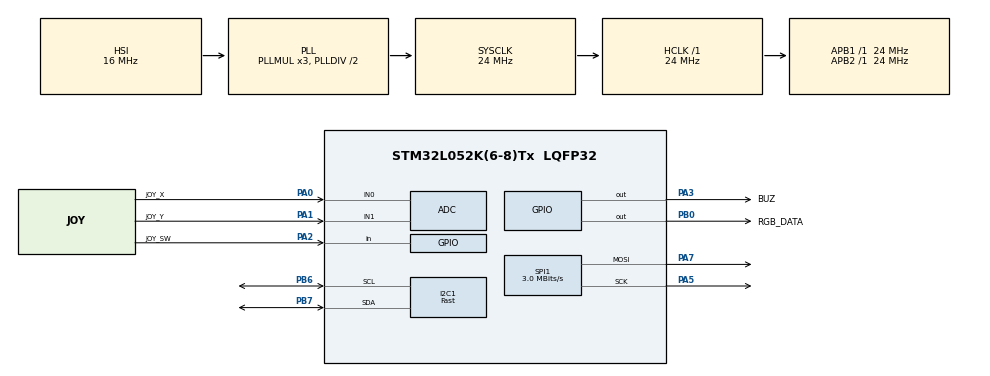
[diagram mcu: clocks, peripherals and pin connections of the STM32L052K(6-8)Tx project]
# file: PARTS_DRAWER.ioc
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ADC.ClockPrescaler=ADC_CLOCK_ASYNC_DIV1
ADC.ContinuousConvMode=DISABLE
ADC.DMAContinuousRequests=DISABLE
ADC.SamplingTime=ADC_SAMPLETIME_79CYCLES_5
Dma.Request0=SPI1_TX
Dma.SPI1_TX.0.Direction=DMA_MEMORY_TO_PERIPH
Dma.SPI1_TX.0.Instance=DMA1_Channel3
Dma.SPI1_TX.0.MemDataAlignment=DMA_MDATAALIGN_BYTE
Dma.SPI1_TX.0.MemInc=DMA_MINC_ENABLE
Dma.SPI1_TX.0.Mode=DMA_NORMAL
Dma.SPI1_TX.0.PeriphDataAlignment=DMA_PDATAALIGN_BYTE
Dma.SPI1_TX.0.PeriphInc=DMA_PINC_DISABLE
Dma.SPI1_TX.0.Priority=DMA_PRIORITY_LOW
I2C1.I2C_Speed_Mode=I2C_Fast
I2C1.Timing=0x00200C28
Mcu.Family=STM32L0
Mcu.Name=STM32L052K(6-8)Tx
Mcu.Package=LQFP32
NVIC.DMA1_Channel2_3_IRQn=true\:0\:0\:false\:false\:true\:false\:true\:true
NVIC.TIM2_IRQn=true\:0\:0\:false\:true\:true\:1\:true\:true\:true
PA0.GPIO_Label=JOY_X
PA0.Mode=IN0
PA0.Signal=ADC_IN0
PA1.GPIO_Label=JOY_Y
PA1.Mode=IN1
PA1.Signal=ADC_IN1
PA2.GPIO_Label=JOY_SW
PA2.GPIO_PuPd=GPIO_PULLUP
PA2.Signal=GPIO_Input
PA3.GPIO_Label=BUZ
PA3.Signal=GPIO_Output
PA5.Mode=TX_Only_Simplex_Unidirect_Master
PA5.Signal=SPI1_SCK
PA7.Mode=TX_Only_Simplex_Unidirect_Master
PA7.Signal=SPI1_MOSI
PB0.GPIO_Label=RGB_DATA
PB0.GPIO_ModeDefaultOutputPP=GPIO_MODE_OUTPUT_PP
PB0.GPIO_PuPd=GPIO_NOPULL
PB0.GPIO_Speed=GPIO_SPEED_FREQ_LOW
PB0.Signal=GPIO_Output
PB6.Mode=I2C
PB6.Signal=I2C1_SCL
PB7.Mode=I2C
PB7.Signal=I2C1_SDA
ProjectManager.HeapSize=0x200
ProjectManager.StackSize=0x400
ProjectManager.TargetToolchain=STM32CubeIDE
RCC.AHBFreq_Value=24000000
RCC.APB1Freq_Value=24000000
RCC.APB1TimFreq_Value=24000000
RCC.APB2Freq_Value=24000000
RCC.APB2TimFreq_Value=24000000
RCC.HCLKFreq_Value=24000000
RCC.HSI16_VALUE=16000000
RCC.HSI48_VALUE=48000000
RCC.HSI_VALUE=16000000
RCC.LSE_VALUE=32768
RCC.MSI_VALUE=2097000
RCC.SYSCLKFreq_VALUE=24000000
RCC.SYSCLKSource=RCC_SYSCLKSOURCE_PLLCLK
RCC.VCOOutputFreq_Value=48000000
SPI1.BaudRatePrescaler=SPI_BAUDRATEPRESCALER_8
SPI1.CalculateBaudRate=3.0 MBits/s
SPI1.Direction=SPI_DIRECTION_2LINES
SPI1.Mode=SPI_MODE_MASTER
SPI1.VirtualType=VM_MASTER
TIM2.Period=1000-1
TIM2.Prescaler=32-1
VP_TIM2_VS_ClockSourceINT.Mode=Internal
board=custom

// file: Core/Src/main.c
/* USER CODE BEGIN Header */
/**
 ******************************************************************************
 * @file           : main.c
 * @brief          : Main program body
 ******************************************************************************
 * @attention
 *
 * Copyright (c) 2022 STMicroelectronics.
 * All rights reserved.
 *
 * This software is licensed under terms that can be found in the LICENSE file
 * in the root directory of this software component.
 * If no LICENSE file comes with this software, it is provided AS-IS.
 *
 ******************************************************************************
 */
/* USER CODE END Header */
#include "main.h"

/* USER CODE BEGIN Includes */
#include <stdio.h>
#include "DS3231.h"
#include "SK6812.h"
#include "ssd1306.h"
#include "stm32l0xx_EEPROM.h"
/* USER CODE END Includes */

/* USER CODE BEGIN PTD */
enum bool{false, true};
typedef uint8_t boolean;
typedef char *String;
typedef uint8_t MODE;
typedef enum __MODE__{
	MAIN, PSAVE, PUSE, USE, REFILL, PFIND, FINDR, PARTITION, PLOG, LOGD
}__MODE__;

typedef struct TIME {
	uint8_t hour;
	uint8_t min;
	uint8_t sec;
} TIME;

typedef struct DATE {
	uint8_t day;
	uint8_t month;
	uint16_t year;
} DATE;

typedef struct PART{
	volatile String name;
	uint8_t cate;
	uint8_t partF;
	uint8_t pos;

	uint8_t ptionID;
	uint8_t ptionC;

	uint16_t store;
	uint16_t max;
}PART;

typedef struct PLOG{
	uint8_t workCate;
	char content[2][22];
	TIME time;
	DATE date;
}PTLOG;
/* USER CODE END PTD */

/* USER CODE BEGIN PD */
#define BUZ(x) (HAL_GPIO_WritePin(BUZ_GPIO_Port, BUZ_Pin, x))
#define ADC_JOY_X (adc[0])
#define ADC_JOY_Y (adc[1])
#define JOY_R (ADC_JOY_X > 4000)
#define JOY_L (ADC_JOY_X < 300)
#define JOY_U (ADC_JOY_Y > 4000)
#define JOY_D (ADC_JOY_Y < 300)
#define JOY_P (!HAL_GPIO_ReadPin(JOY_SW_GPIO_Port, JOY_SW_Pin))
#define RE1 (reC>=100)

#define UPDATE SSD1306_UpdateScreen(); led_update()
#define PTR pt[i].cate == 1 ? 1 : pt[i].cate == 2 ? 4 : pt[i].cate == 3 ? 0 : 4
#define PTG pt[i].cate == 1 ? 0 : pt[i].cate == 2 ? 4 : pt[i].cate == 3 ? 4 : 1
#define PTB pt[i].cate == 1 ? 4 : pt[i].cate == 2 ? 0 : pt[i].cate == 3 ? 4 : 0
#define PTMAX pt[ptC].cate == 0 ? 200 : pt[ptC].cate == 1 ? 100 : pt[ptC].cate == 2 ? 50 : 10
#define PTRF pt[findArr[sel]].cate == 1 ? 1 : pt[findArr[sel]].cate == 2 ? 4 : pt[findArr[sel]].cate == 3 ? 0 : 4
#define PTGF pt[findArr[sel]].cate == 1 ? 0 : pt[findArr[sel]].cate == 2 ? 4 : pt[findArr[sel]].cate == 3 ? 4 : 1
#define PTBF pt[findArr[sel]].cate == 1 ? 4 : pt[findArr[sel]].cate == 2 ? 0 : pt[findArr[sel]].cate == 3 ? 4 : 0
/* USER CODE END PD */

ADC_HandleTypeDef hadc;

I2C_HandleTypeDef hi2c1;

SPI_HandleTypeDef hspi1;
DMA_HandleTypeDef hdma_spi1_tx;

TIM_HandleTypeDef htim2;

/* USER CODE BEGIN PV */
DATE date;
TIME time;
PART pt[36];
PTLOG pLog[6];
MODE modeFlag = MAIN;

uint8_t reC = 0;
uint8_t lastDay[12] = {31, 28, 31, 30, 31, 30, 31, 31, 30, 31, 30, 31};
uint8_t sel;
uint8_t buzFlag = 0;
uint8_t ptC = 0;
uint8_t tempX = 0, tempY = 0;
uint8_t ledPos = 0;
uint8_t ptSetPosF = 0;
uint8_t ptInNum;
uint8_t logC=0;
uint8_t usePos = 255;
uint8_t findArr[36];
uint8_t findC = 0;
uint8_t selLog = 0;
uint16_t adc[2];
uint16_t ledC = 0;
boolean oldsw = true;
boolean udf = true, firstF = true;
volatile String ptFindName;
const String ptCate[4] = {"Res", "Cap", "IC", "Etc"};
const String ptWorkCate[4] = {"SAVE", "USE", "FIND", "MKPT"};
const String keyboard[4] = {
		"1234567890",
		"QWERTYUIOP",
		"ASDFGHJKL;",
		"ZXCVBNM,. "
};

/* USER CODE END PV */

void SystemClock_Config(void);
static void MX_GPIO_Init(void);
static void MX_DMA_Init(void);
static void MX_ADC_Init(void);
static void MX_I2C1_Init(void);
static void MX_SPI1_Init(void);
static void MX_TIM2_Init(void);
static void MX_NVIC_Init(void);

/* USER CODE BEGIN 0 */
void SSD1306_PutsXY(uint8_t x, uint8_t y, String str, uint8_t color) {
	SSD1306_GotoXY(x * 6, y * 8);
	SSD1306_Puts(str, &Font_6x8, color);
}

void basicScreen(){
	SSD1306_Fill(0);
	SSD1306_DrawFilledRectangle(0, 0, 127, 7, 1);
}

void swS(){
	oldsw = JOY_P ? true : false;
}

void HAL_TIM_PeriodElapsedCallback(TIM_HandleTypeDef *htim) {
	static uint16_t buzC;
	if (htim->Instance == TIM2) {
		reC++;
		if(modeFlag == FINDR || modeFlag == PARTITION) ledC++;
		else ledC = 0;
		HAL_ADC_Start(&hadc);
		HAL_ADC_PollForConversion(&hadc, 10);
		adc[0] = HAL_ADC_GetValue(&hadc);
		HAL_ADC_PollForConversion(&hadc, 10);
		adc[1] = HAL_ADC_GetValue(&hadc);
		swS();
		if(buzFlag)buzC++;
		else {
			buzC = 0;
			BUZ(0);
		}
		if(buzFlag==1){
			if(buzC >= 500) buzFlag = 0;
			BUZ(1);
		}
		if(buzFlag == 2){
			if(buzC >= 100) buzFlag = 0;
			if(buzC % 50 > 25) BUZ(1);
			else BUZ(0);
		}
	}
}

void logShift(){
	logC++;
	for(uint8_t i = 0; i < 5; i++)
		pLog[5 - i] = pLog[4 - i];
}

void textIn(boolean n, volatile String resultArr ,uint8_t lim){
	String bf = (String)calloc(0, sizeof(char) * 11);
	uint8_t keyX = 0, keyY = 0, limX = 0, tempColor;
	uint8_t cur = 0;
	udf = true;
	memset(resultArr, 0, (size_t)lim + 1);

	SSD1306_Fill(0);

	while(1){
		if(RE1){
			reC = 0;
			if(JOY_R)
				if(keyX < limX) keyX++;
				else keyX = 0;
			if(JOY_L)
				if(keyX) keyX--;
				else keyX = limX;
			if(JOY_U)
				if(keyY) keyY--;
				else keyY = 3;
			if(JOY_D)
				if(keyY < 3) keyY++;
				else keyY = 0;
			if(JOY_R || JOY_L || JOY_U || JOY_D) udf = true;
		}
		if(JOY_P){
			if(!oldsw){
				swS();
				udf = true;
				if(keyX < 10) resultArr[cur++] = keyboard[keyY][keyX];
				else {
					if(keyY == 0) cur--;
					else if(keyY == 2){
						udf = true;
						resultArr[cur] = '\0';
						SSD1306_Fill(1);
						free(bf);
						return;
					}
				}
			}
		}
		if(lim - 1 == cur){
			firstF = true;
			udf = true;

			resultArr[cur]='\0';
			SSD1306_Fill(1);

			free(bf);
			return;
		}
		if(keyY == 0 || keyY == 2) limX = 10;
		else limX = 9;
		if(keyX > limX) keyX = limX;
		if(udf){
			udf = false;

			basicScreen();
			if(!n) SSD1306_PutsXY(0, 0, "#input Name", 0);
			else  SSD1306_PutsXY(0, 0, "#input part name", 0);

			for(uint8_t i = 0; i < 10; i++){
				for(uint8_t j = 0; j < 4; j++){
					tempColor = !(keyX == i && keyY == j);
					SSD1306_GotoXY(14 + (i * 10), 31 + (j * 8));
					SSD1306_Putc(keyboard[j][i], &Font_6x8, tempColor);
				}
			}
			SSD1306_GotoXY(115, 31);
			SSD1306_Puts("&", &Font_6x8, !(keyX == 10 && keyY == 0));
			SSD1306_GotoXY(115, 49);
			SSD1306_Puts("*", &Font_6x8, !(keyX == 10 && keyY == 2));
			SSD1306_PutsXY(cur, 2, " ^ ", 1);
			SSD1306_PutsXY(0, 1, " > ", 1);
			for(uint8_t i = 0; i < cur; i++){
				sprintf(bf, "%c ", resultArr[i]);
				SSD1306_PutsXY(1 + i, 1, bf, 1);
			}

			SSD1306_UpdateScreen();
		}
	}
}

void timeSet(boolean firstOn){
	DATE setDate = {.year = 2022, .month = 3, .day = 18};
	TIME setTime = {.hour = 0, .min = 0, .sec = 1};

	basicScreen();
	while(!firstOn){
		if(RE1){
			reC = 0;
			if(JOY_R && sel < 5) sel++;
			if(JOY_L && sel) sel--;
			if(JOY_U){
				switch(sel){
				case 0: if(setDate.year < 2099) setDate.year++;
				case 1: if(setDate.month < 12) setDate.month++;
				case 2: if(setDate.day < lastDay[setDate.month - 1]) setDate.day++;
				case 3: if(setTime.hour < 23) setTime.hour++;
				case 4: if(setTime.min < 59) setTime.min++;
				case 5: if(setTime.sec < 59) setTime.sec++;
				}
				if(setDate.day > lastDay[setDate.month - 1]) setDate.day = lastDay[setDate.month - 1];
			}
			if(JOY_D){
				switch(sel){
				case 0: if(setDate.year > 2000) setDate.year--;
				case 1: if(setDate.month > 1) setDate.month--;
				case 2: if(setDate.day > 1) setDate.day--;
				case 3: if(setTime.hour) setTime.hour--;
				case 4: if(setTime.min) setTime.min--;
				case 5: if(setTime.sec) setTime.sec--;
				}
			}
			if(JOY_R || JOY_L || JOY_U || JOY_D) udf = true;
		}
		if(JOY_P){
			if(!oldsw){
				swS();
				DS3231_set_date(setDate.day, setDate.month, setDate.year);
				DS3231_set_time(setTime.sec, setTime.min, setTime.hour);
				udf = true;
				eepWriteData(0, true);
				SSD1306_Clear();
				return;
			}
		}
		if(udf){
			String bf = (String)calloc(0, sizeof(char) * 12);
			udf = false;
			basicScreen();
			SSD1306_PutsXY(0, 0, "#Time Set", 0);
			SSD1306_PutsXY(0, 2, "RTC Time setting.", 1);
			switch(sel){
			case 0: sprintf(bf, "Year=%04ld", setDate.year); break;
			case 1: sprintf(bf, "Month=%02ld", setDate.month); break;
			case 2: sprintf(bf, "Day=%02ld", setDate.day); break;
			case 3: sprintf(bf, "Hour=%02ld", setTime.hour); break;
			case 4: sprintf(bf, "Min=%02ld", setTime.min); break;
			case 5: sprintf(bf, "Sec=%02ld", setTime.sec); break;
			}
			SSD1306_PutsXY(0, 4, bf, 1);
			SSD1306_UpdateScreen();
			free(bf);
		}
	}
}

MODE mainM(){
	if(firstF){
		firstF = false;
		basicScreen();
		for(uint8_t i = 0; i < 36; i++)
			if(pt[i].store) led_color(pt[i].pos, PTR, PTG, PTB);
		led_update();
		sel = 0;
	}
	if(RE1){
		if(JOY_U && sel)sel--;
		if(JOY_D && sel < 4) sel++;
		if(JOY_U || JOY_D || JOY_R || JOY_L) udf = true;

		DS3231_get_date(&date.day, &date.month, (uint8_t *)&date.year);
		DS3231_get_time(&time.sec, &time.min, &time.hour);

		String bf = (String)calloc(0, sizeof(char) * 16);
		sprintf(bf, "%04d.%02d.%02d", date.year + 1992, date.month, date.day);
		SSD1306_PutsXY(11, 3, bf, 1);
		sprintf(bf, "%02d:%02d:%02d", time.hour, time.min, time.sec);
		SSD1306_PutsXY(13, 4, bf, 1);
		SSD1306_UpdateScreen();
		free(bf);
	}
	if(JOY_P){
		if(!oldsw){
			swS();
			if(ptC || !sel){
				udf = true;
				firstF = true;
				return sel == 0 ? PSAVE : sel == 1 ? PUSE : sel == 2 ? PFIND : sel == 3 ? PARTITION : PLOG;
			}else buzFlag = 1;
		}
	}
	if(udf){
		udf = false;
		basicScreen();
		SSD1306_PutsXY(0, 0, "#Menu", 0);
		SSD1306_PutsXY(1, 2, "Part save", 1);
		SSD1306_PutsXY(1, 3, "Part use", 1);
		SSD1306_PutsXY(1, 4, "Part find", 1);
		SSD1306_PutsXY(1, 5, "Partition", 1);
		SSD1306_PutsXY(1, 6, "Part log", 1);

		SSD1306_PutsXY(0, sel + 2, ">", 1);
	}
	return MAIN;
}

MODE partS(){
	if(firstF){
		firstF = false;

		sel = 0;
		tempX = 1;
		tempY = 1;
		ledPos = 30;

		ptInNum = 1;
		pt[ptC].cate = 0;
		pt[ptC].max = 200;

		led_clear();
		led_update();
	}
	if(RE1){
		uint8_t i;
		reC = 0;
		if(ptSetPosF){
			if(JOY_R)
				if(tempX < 6)
					for(i = 1; i <= (6 - tempX); i++)
						if(led_cmp((ledPos + i), 0, 4, 0) == 3){
							tempX += i;
							break;
						}
			if(JOY_L)
				if(tempX > 1)
					for(i = 1; i < tempX; i++)
						if(led_cmp((ledPos - i), 0, 4, 0) == 3){
							tempX -= i;
							break;
						}
			if(JOY_U)
				if(tempY < 6)
					for(i = 1; i <= (6 - tempY); i++)
						if(led_cmp(ledPos - (6 * i), 0, 4, 0) == 3){
							tempY += i;
							break;
						}

			if(JOY_D)
				if(tempY > 1)
					for(i = 1; i <=  tempY; i++)
						if(led_cmp(ledPos +(6 * i), 0, 4, 0) == 3){
							tempY -= i;
							break;
						}
		}else{
			if(JOY_R){
				if(sel == 0){
					if(pt[ptC].cate < 3) pt[ptC].cate++;
					pt[ptC].max = PTMAX;
					if(ptInNum > pt[ptC].max) ptInNum = pt[ptC].max;
				}
				if(sel == 2 && ptInNum < pt[ptC].max - pt[ptC].store) ptInNum++;
				if(sel == 3 && pt[ptC].pos < 35) pt[ptC].pos++;
			}
			if(JOY_L){
				if(sel == 0){
					if(pt[ptC].cate) pt[ptC].cate--;
					pt[ptC].max = PTMAX;
					if(ptInNum > pt[ptC].max) ptInNum = pt[ptC].max;
				}
				if(sel == 2 && ptInNum > 1) ptInNum--;
				if(sel == 3 && pt[ptC].pos) pt[ptC].pos--;
			}
			if(JOY_U && sel) sel--;
			if(JOY_D && sel < 4) sel++;
		}
		if(JOY_R || JOY_L || JOY_U || JOY_D) udf = true;
	}
	if(JOY_P){
		if(!oldsw){
			swS();
			if(sel == 1){
				udf = true;
				pt[ptC].name = (String)calloc(0, sizeof(char) * 11);
				textIn(false, pt[ptC].name, 10);
			}else if(sel == 3){
				udf = true;
				ptSetPosF ^= 1;
				if(!ptSetPosF) led_clear();
			}else {
				if(!pt[ptC].name) buzFlag = 2;
				else if(sel == 4){
					udf = true;
					firstF = 1;

					pt[ptC].pos = ledPos;
					pt[ptC].store = ptInNum;

					logShift();
					DS3231_get_date(&date.day, &date.month, (uint8_t *)&date.year);
					DS3231_get_time(&time.sec, &time.min, &time.hour);
					pLog[0].workCate = 1;
					pLog[0].date = date;
					pLog[0].time = time;
					sprintf(pLog[0].content[0], "%s/%s", pt[ptC].name, ptCate[pt[ptC].cate]);
					sprintf(pLog[0].content[1], "%dpcs (%d,%d)", pt[ptC].store, tempX, tempY);
					ptC++;

					sel = 0;
					return MAIN;
				}
			}
		}
	}
	if(udf){
		String bf = (String)calloc(0, sizeof(char) * 11);
		udf = false;
		basicScreen();
		SSD1306_PutsXY(0, 0, "#Save", 0);
		SSD1306_PutsXY(0, 1, "Pls input inFormation", 1);

		SSD1306_PutsXY(1, 3, "Cate:", 1);
		SSD1306_Puts(ptCate[pt[ptC].cate], &Font_6x8, 1);

		SSD1306_PutsXY(1, 4, "Name:", 1);
		if(!pt[ptC].name[0])SSD1306_Puts("(NONE)", &Font_6x8, 1);
		else SSD1306_Puts(pt[ptC].name, &Font_6x8, 1);

		if(pt[ptC].ptionC < 1) pt[ptC].ptionC = 1;
		SSD1306_PutsXY(1, 5, "Store:", 1);
		sprintf(bf, "%d/%d", ptInNum, pt[ptC].max * pt[ptC].ptionC);
		SSD1306_Puts(bf, &Font_6x8, 1);

		if(ptSetPosF){
			led_clear();
			for(uint8_t i = 0; i < 36; i++){
				if(pt[i].store) led_color(pt[i].pos, 4, 0, 0);
				if(led_cmp(i, 0, 0, 0) == 3) led_color(i, 0, 4, 0);
			}
			ledPos = (6 - tempY) * 6 + tempX - 1;
			led_color(ledPos, 4, 4, 4);

			led_update();
		}

		SSD1306_PutsXY(1, 6, "Position ", !ptSetPosF);
		sprintf(bf, "(%d, %d)", tempX, tempY);
		SSD1306_Puts(bf, &Font_6x8, !ptSetPosF);

		SSD1306_PutsXY(1, 7, "Enter", 1);

		SSD1306_PutsXY(0, sel + 3, ">", 1);

		free(bf);
		SSD1306_UpdateScreen();
	}
	return PSAVE;
}

MODE pUseM(){
	if(firstF){
		firstF = false;
		tempX = 1;
		tempY = 1;
	}
	if(RE1){
		reC = 0;
		if(JOY_R && tempX < 6) tempX++;
		if(JOY_L && tempX > 1) tempX--;
		if(JOY_U && tempY < 6) tempY++;
		if(JOY_D && tempY > 1) tempY--;
		if(JOY_R || JOY_L || JOY_U || JOY_D) udf = true;
	}
	if(JOY_P){
		if(!oldsw){
			swS();
			if(usePos != 255){
				firstF = true;
				udf = true;
				return USE;
			}else buzFlag = 2;
		}
	}
	if(udf){
		udf = false;
		basicScreen();
		ledPos = (6 - tempY) * 6 + tempX - 1;

		SSD1306_PutsXY(0, 0, "#Use", 0);
		SSD1306_PutsXY(0, 1, "Select part", 1);

		for(uint8_t i = 0; i < 36; i++){
			if(pt[i].pos == ledPos && pt[i].store){
				String bf = (String)calloc(0, sizeof(char) * 4);
				usePos = i;
				SSD1306_PutsXY(1, 3, "Cate:", 1);
				SSD1306_Puts(ptCate[pt[usePos].cate], &Font_6x8, 1);
				SSD1306_PutsXY(1, 4, "Name:", 1);
				SSD1306_Puts(pt[usePos].name, &Font_6x8, 1);
				SSD1306_PutsXY(1, 5, "Store:", 1);
				sprintf(bf, "%d ", pt[usePos].store);
				SSD1306_Puts(bf, &Font_6x8, 1);
				free(bf);
				break;
			}else{
				usePos = 255;
				SSD1306_PutsXY(1, 3, "(Empty)", 1);
			}
		}
		led_clear();
		for(uint8_t i = 0; i < 36; i++){
			if(pt[i].store) led_color(pt[i].pos, PTR, PTG, PTB);
			if(!led_cmp(i, 0, 0, 0)) led_color(i, 0, 4, 0);
		}
		led_color(ledPos, 4, 4, 4);

		led_update();
		SSD1306_UpdateScreen();
	}

	return PUSE;
}

MODE use(){
	if(firstF){
		firstF = false;
		ptInNum = 0;
	}
	if(RE1){
		reC = 0;
		if(JOY_U && ptInNum < pt[usePos].store) ptInNum++;
		if(JOY_D && ptInNum > 1) ptInNum--;
		if(JOY_U || JOY_D) udf = 1;
	}
	if(JOY_P){
		if(!oldsw){
			swS();
			firstF = 1;
			udf = 1;

			logShift();
			DS3231_get_date(&date.day, &date.month, (uint8_t*)&date.year);
			DS3231_get_time(&time.sec, &time.min, &time.hour);
			pLog[0].workCate = 2;
			pLog[0].date = date;
			pLog[0].time = time ;
			sprintf(pLog[0].content[0], "%s/%s", pt[usePos].name, ptCate[pt[usePos].cate]);
			sprintf(pLog[0].content[1], "%dpcs (%d,%d)", ptInNum, tempX, tempY);
			if(ptInNum == pt[usePos].store) return REFILL;
			else {
				pt[usePos].store -= ptInNum;
				return MAIN;
			}
		}
	}
	if(udf){
		String bf = (String)calloc(0, sizeof(char) * 12);
		udf = false;
		basicScreen();
		SSD1306_PutsXY(0, 0, "#Use", 0);
		SSD1306_PutsXY(0, 1, "How Many use?", 1);
		sprintf(bf, "(%d / %d)", ptInNum, pt[usePos].store);
		SSD1306_PutsXY(0, 3, bf, 1);
		SSD1306_UpdateScreen();
		free(bf);
	}
	return USE;
}

MODE refill(){
	if(firstF){
		firstF = false;
		ptInNum = 0;
	}
	if(RE1){
		reC = 0;
		if(JOY_U && ptInNum < pt[usePos].max){
			ptInNum++;
			udf = true;
		}
		if(JOY_D && ptInNum){
			ptInNum--;
			udf = true;
		}
	}
	if(JOY_P){
		if(!oldsw){
			swS();
			firstF = true;
			udf = true;
			if(ptInNum){
				logShift();
				DS3231_get_date(&date.day, &date.month, (uint8_t*)&date.year);
				DS3231_get_time(&time.sec, &time.min, &time.hour);
				pLog[0].workCate = 1;
				pLog[0].date = date;
				pLog[0].time = time;
				sprintf(pLog[0].content[0], "%s/%s", pt[usePos].name, ptCate[pt[usePos].cate]);
				sprintf(pLog[0].content[1], "%dpcs (%d,%d)", ptInNum, tempX, tempY);
			}
			pt[usePos].store = ptInNum;
			for(uint8_t i = 0; i < 36; i++){
				if(pt[usePos].ptionID == pt[i].ptionID && pt[usePos].ptionID) pt[i] = pt[usePos];
			}
			led_clear();

			return MAIN;
		}
	}
	if(udf){
		String bf = (String)calloc(0, sizeof(char) * 11);
		udf = false;
		basicScreen();
		SSD1306_PutsXY(0, 0, "#refill", 0);
		SSD1306_PutsXY(0, 1, "Part has all used.", 1);
		if(pt[usePos].ptionC < 1)pt[usePos].ptionC = 1;
		sprintf(bf, "IN:%u/%u", ptInNum, pt[usePos].max * pt[usePos].ptionC);
		SSD1306_PutsXY(0, 3, bf, 1);
		SSD1306_UpdateScreen();
		free(bf);
	}
	return REFILL;
}

MODE pFind(){
	if(firstF){
		firstF = false;
		findC = 0;
		memset(ptFindName, 0, sizeof(char) * 11);
	}
	if(RE1 && (JOY_R || JOY_L || JOY_U || JOY_D)) udf = true;
	if(JOY_P){
		if(!oldsw){
			swS();
 			if(!ptFindName[0])textIn(true, ptFindName, 10);
			else{
				for(uint8_t i = 0; i < 36; i++)
					if(!strcmp(ptFindName, pt[i].name)){
						findArr[findC] = i;
						findC++;
					}
				firstF = true;
				udf = true;
				return FINDR;
			}
		}
	}
	if(udf){
		udf = false;
		basicScreen();
		SSD1306_PutsXY(0, 0, "#Find", 0);
		SSD1306_DrawFilledRectangle(18, 34, 92, 10, 1);
		SSD1306_GotoXY(19, 36);
		if(!ptFindName[0]) SSD1306_Puts("input find name", &Font_6x8, 1);
		else SSD1306_Puts(ptFindName, &Font_6x8, 1);
		SSD1306_UpdateScreen();
	}
	return PFIND;
}

MODE findR(){
	if(firstF){
		firstF = false;
		sel = 0;
	}
	if(ledC >= 1000) ledC = 0;
	if(ledC < 500)
		for(uint8_t i = 0; i < 36; i++)
			led_color(pt[findArr[i]].pos, PTRF, PTGF, PTBF);
	else led_color(pt[findArr[sel]].pos, 0, 0, 0);
	if(reC >= 250){
		reC = 0;
		led_update();
		if(JOY_U && sel)sel--;
		if(JOY_D && sel < (findC - 1)) sel++;
		if(JOY_U || JOY_D) udf = true;
	}
	if(JOY_P){
		if(!oldsw){
			udf = true;
			swS();
			logShift();
			DS3231_get_date(&date.day, &date.month, (uint8_t *)&date.year);
			DS3231_get_time(&time.sec, &time.min, &time.hour);
			pLog[0].workCate = 3;
			pLog[0].date = date;
			pLog[0].time = time;
			sprintf(pLog[0].content[0], "Sear:%s", ptFindName);
			sprintf(pLog[0].content[0], "Num of Find:%u", findC);
			if(findC){
				usePos = findArr[sel];
				return USE;
			}else {
				udf = true;
				return MAIN;
			}
		}
		findC = 0;
		udf = true;
		firstF = true;
	}
	if(udf){
		udf = false;
		basicScreen();
		SSD1306_PutsXY(0, 0, "#Find result", 0);
		if(findC){
			String bf = (String)calloc(0, sizeof(char) * 31);
			SSD1306_PutsXY(0, sel + 2, ">", 1);
			SSD1306_PutsXY(0, 1, "Find some Parts!", 1);
			for(uint8_t i = 0; i < findC; i++){
				tempX = (pt[findArr[i]].pos) % 6 + 1;
				tempY = 6 - (pt[findArr[i]].pos) / 6;
				sprintf(bf, "%s(%s/%d,%d)", pt[findArr[i]].name, ptCate[pt[findArr[i]].cate], tempX, tempY);
				SSD1306_PutsXY(1, i + 2, bf, 1);
			}
			free(bf);
		}else SSD1306_PutsXY(0, 1, "Not Found..", 1);
		SSD1306_UpdateScreen();
	}
	return FINDR;
}

MODE partition(){
	static uint8_t minX = 0, minY = 0;
	static uint8_t maxX = 0, maxY = 0;
	static uint8_t ptiSX = 1, ptiEX = 1;
	static uint8_t ptiSY = 1, ptiEY = 1;
	static uint8_t selPtpos = 0;
	static uint8_t tempPtiC= 0;
	static uint8_t ptiC = 0;
	if(firstF){
		firstF = false;
		sel = 0;
		ptiSX = 1;
		ptiSY = 1;
		ptiEX = 1;
		ptiEY = 1;
		selPtpos = 0;
		tempPtiC = 0;
		led_clear();
		led_update();
	}
	if(RE1){
		reC = 0;
		led_clear();
		if(JOY_R){
			if(ptiSX < 6 && sel == 0) ptiSX++;
			if(ptiEX < 6 && sel == 1) ptiEX++;
		}
		if(JOY_L){
			if(ptiSX > 1 && sel == 0) ptiSX--;
			if(ptiEX > 1 && sel == 1) ptiEX--;
		}
		if(JOY_U){
			if(ptiSY < 6 && sel == 0) ptiSY++;
			if(ptiEY < 6 && sel == 1) ptiEY++;
		}
		if(JOY_D){
			if(ptiSY > 1 && sel == 0) ptiSY--;
			if(ptiEY > 1 && sel == 1) ptiEY--;
		}
		if(JOY_U || JOY_D || JOY_R || JOY_L) udf = true;
		if(sel == 0) ledPos = (6 - ptiSY) * 6 + ptiSX - 1;
		if(sel == 1) ledPos = (6 - ptiEY) * 6 + ptiEX - 1;
		if(sel <= 1){
			for(uint8_t i = 0; i < 36; i++) if(!pt[i].cate) led_color(pt[i].pos, PTR, PTG, PTB);
			led_color(ledPos, 4, 4, 4);
			led_update();
		}
		if(sel == 2){
			if(ledC >= 1000) ledC = 0;
			if(ledC < 500){
				for(uint8_t i = 0; i < 36; i++){
					tempX = i % 6 + 1;
					tempY = 6 - i / 6;
					if((tempX >= minX && tempX <= maxX) && (tempY >= minY && tempY <= maxY))
						led_color(i, 0, 4, 0);
				}
			}else led_clear();
			led_update();
		}
	}
	if(JOY_P){
		if(!oldsw){
			swS();
			udf = true;
			if(sel < 3) sel++;
			if(sel == 1){
				ptiEX = ptiSX;
				ptiEY = ptiSY;
			}
			if(sel == 2){
				maxX = ptiSX >= ptiEX ? ptiSX : ptiEX;
				maxY = ptiSY >= ptiEY ? ptiSY : ptiEY;
				minX = ptiSX >= ptiEX ? ptiEX : ptiSX;
				minY = ptiSY >= ptiEY ? ptiEY : ptiSY;
				for(uint8_t i = 0; i < 36; i++){
					tempX = i % 6 + 1;
					tempY = 6 - i / 6;
					if(tempX >= minX && tempX <= maxX)
						if(tempY >= minY && tempY <= maxY)
							tempPtiC++;
				}
			}
			if(sel == 3){
				ptiC++;
				pt[selPtpos].ptionID = ptiC;
				pt[selPtpos].ptionC = tempPtiC;
				for(uint8_t i = 0; i < 36; i++){
					tempX = i % 6 + 1;
					tempY = 6 - i / 6;
					if(tempX >= minX && tempX <= maxX){
						if(tempY >= minY && tempY <= maxY){
							if(!pt[ptC].store){
								pt[ptC] = pt[selPtpos];
								pt[ptC++].pos = i;
							}
						}
					}
				}
				logShift();
				DS3231_get_date(&date.day, &date.month, (uint8_t*)&date.year);
				DS3231_get_time(&time.sec, &time.min, &time.hour);
				sprintf(pLog[0].content[0], "S(%d,%d) E(%d,%d)", ptiSX, ptiSY, ptiEX, ptiEY);
				sprintf(pLog[0].content[1], "Size of ption:%d", tempPtiC);
				pLog[0].workCate = 4;
				pLog[0].time = time;
				pLog[0].date = date;
				sel = 0;
				firstF = true;
				udf = true;
				return MAIN;
			}
		}
	}
	if(udf){
		String bf = (String)calloc(0, sizeof(char) * 30);
		udf = false;
		led_update();
		basicScreen();
		SSD1306_PutsXY(0, 0, "#Partition", 0);
		sprintf(bf, "Start (%d,%d)", ptiSX, ptiSY);
		SSD1306_PutsXY(0, 3, bf, 1);
		for(uint8_t i = 0; i < 36; i++){
			if(pt[i].store && pt[i].pos == ledPos){
				if(pt[i].ptionC < 1) pt[i].ptionC = 1;
				sprintf(bf, "%s(%s/%d/%d)", pt[i].name, ptCate[pt[i].cate], pt[i].store, pt[i].max * pt[i].ptionC);
				SSD1306_PutsXY(0, 4, bf, 1);
			}else {
				SSD1306_PutsXY(0, 4, "(NONE)", 1);
			}
		}
		if(sel == 1){
			SSD1306_PutsXY(0, 1, "Select end point", 1);
			sprintf(bf, "End (%d,%d)", ptiEX, ptiEY);
			SSD1306_PutsXY(0, 3, bf, 1);
			for(uint8_t i = 0; i < 36; i++){
				if(pt[i].store && pt[i].pos == ledPos){
					sprintf(bf, "%s(%s/%d/%d)", pt[i].name, ptCate[pt[i].cate], ptiEX, ptiEY);
					SSD1306_PutsXY(0, 4, bf, 1);
				}else {
					SSD1306_PutsXY(0, 4, "(NONE)", 1);
				}
			}
		}
		if(sel == 2){
			sprintf(bf, "Total number:%d", tempPtiC);
			SSD1306_PutsXY(0, 3, bf, 1);
		}
		SSD1306_UpdateScreen();
		free(bf);
	}
	return PARTITION;
}

MODE logM(){
	if(firstF){
		firstF = false;
		sel = 0;
	}
	if(RE1){
		reC = 0;
		if(JOY_L){
			firstF = true;
			udf = true;
			return MAIN;
		}
		if(JOY_U && sel) sel--;
		if(JOY_D && (sel < ((logC > 6) ? 5 : logC - 1))) sel++;
		if(JOY_U || JOY_D) udf = true;
	}
	if(JOY_P){
		if(!oldsw){
			swS();
			firstF = true;
			udf = true;
			selLog = sel;
			return LOGD;
		}
	}
	if(udf){
		udf = false;
		basicScreen();
		SSD1306_PutsXY(0, 0, "#Log", 0);
		for(uint8_t i = 0; i < ((logC > 6) ? 6 : logC); i++){
			if(pLog[i].date.year){
				String bf = (String)calloc(0, sizeof(char) * 30);
				sprintf(bf, "%02d.%02d.%02d/%02d:%02d/%s", pLog[i].date.year - 1800, pLog[i].date.month, pLog[i].date.day, pLog[i].time.hour, pLog[i].time.min, ptWorkCate[pLog[i].workCate - 1]);
				SSD1306_PutsXY(1, i + 2, bf, 1);
				free(bf);
			}else break;
		}
		SSD1306_PutsXY(0, sel + 2, ">", 1);
		SSD1306_UpdateScreen();
	}
	return PLOG;
}

MODE logD(){
	if(firstF) firstF = false;
	if(JOY_P){
		if(!oldsw){
			swS();
			udf = true;
			return PLOG;
		}
	}
	if(udf){
		String bf = (String)calloc(0, sizeof(char) * 30);
		udf = false;
		basicScreen();
		SSD1306_PutsXY(0, 0, "#Log detail", 0);
		sprintf(bf, "%02d.%02d.%02d/%02d:%02d/%s", pLog[selLog].date.year  - 1800, pLog[selLog].date.month, pLog[selLog].date.day, pLog[selLog].time.hour, pLog[selLog].time.min, ptWorkCate[pLog[selLog].workCate - 1]);
		SSD1306_PutsXY(0, 2, bf, 1);
		SSD1306_PutsXY(0, 4, pLog[selLog].content[0], 1);
		SSD1306_PutsXY(0, 5, pLog[selLog].content[1], 1);
		free(bf);
		SSD1306_UpdateScreen();
	}
	return LOGD;
}

typedef struct func{
	MODE (**mode)(void);
}FUNC, *PFUNC;

/* USER CODE END 0 */

int main(void){
  /* USER CODE BEGIN 1 */
	PFUNC func = (PFUNC)malloc(sizeof(FUNC));
	func->mode = (MODE**)malloc(sizeof(MODE*) * 10);

	*(func->mode + 0) = mainM;
	*(func->mode + 1) = partS;
	*(func->mode + 2) = pUseM;
	*(func->mode + 3) = use;
	*(func->mode + 4) = refill;
	*(func->mode + 5) = pFind;
	*(func->mode + 6) = findR;
	*(func->mode + 7) = partition;
	*(func->mode + 8) = logM;
	*(func->mode + 9) = logD;

	static boolean firstOn  = false;
  /* USER CODE END 1 */

  /* MCU Configuration--------------------------------------------------------*/

  /* Reset of all peripherals, Initializes the Flash interface and the Systick. */
  HAL_Init();

  /* Configure the system clock */
  SystemClock_Config();

  /* Initialize all configured peripherals */
  MX_GPIO_Init();
  MX_DMA_Init();
  MX_ADC_Init();
  MX_I2C1_Init();
  MX_SPI1_Init();
  MX_TIM2_Init();

  /* Initialize interrupts */
  MX_NVIC_Init();
  /* USER CODE BEGIN 2 */
	SSD1306_Init();
	HAL_TIM_Base_Start_IT(&htim2);

	ptFindName = (String)calloc(0, sizeof(char) * 11);
	memset(pLog, 0, (size_t)sizeof(pLog));
	for (uint8_t i = 0; i < 36; i++)
		led_color(i, i / 6 == 0 || i / 6 == 3 ? 4 : 0, i / 6 == 1 || i / 6 == 4 ? 4 : 0, i / 6 == 2 || i / 6 == 5 ? 4 : 0);
	led_update();
	for (uint8_t i = 0; i < 8; i++) {
		SSD1306_Fill(0);
		SSD1306_GotoXY(46, 28 + i);
		SSD1306_Puts("Drawer", &Font_6x8, 0);
		SSD1306_GotoXY(43, 28);
		SSD1306_Puts(" Parts ", &Font_6x8, 1);
		SSD1306_UpdateScreen();
		HAL_Delay(200);
	}
	HAL_Delay(1000);

	memset(pt, 0, (size_t)sizeof(pt));
	SSD1306_Clear();
	led_clear();
	UPDATE;
//	eepWriteData(0, false);
	firstOn = eepReadData(0);
	timeSet(firstOn);
  /* USER CODE END 2 */

  /* Infinite loop */
  /* USER CODE BEGIN WHILE */
	while (1) {
		modeFlag = (*(func->mode + modeFlag))();

    /* USER CODE END WHILE */

    /* USER CODE BEGIN 3 */
	}
	free(func->mode);
	free(func);
  /* USER CODE END 3 */
}

void SystemClock_Config(void)
{
  RCC_OscInitTypeDef RCC_OscInitStruct = {0};
  RCC_ClkInitTypeDef RCC_ClkInitStruct = {0};
  RCC_PeriphCLKInitTypeDef PeriphClkInit = {0};

  /** Configure the main internal regulator output voltage
  */
  __HAL_PWR_VOLTAGESCALING_CONFIG(PWR_REGULATOR_VOLTAGE_SCALE1);

  /** Initializes the RCC Oscillators according to the specified parameters
  * in the RCC_OscInitTypeDef structure.
  */
  RCC_OscInitStruct.OscillatorType = RCC_OSCILLATORTYPE_HSI;
  RCC_OscInitStruct.HSIState = RCC_HSI_ON;
  RCC_OscInitStruct.HSICalibrationValue = RCC_HSICALIBRATION_DEFAULT;
  RCC_OscInitStruct.PLL.PLLState = RCC_PLL_ON;
  RCC_OscInitStruct.PLL.PLLSource = RCC_PLLSOURCE_HSI;
  RCC_OscInitStruct.PLL.PLLMUL = RCC_PLLMUL_3;
  RCC_OscInitStruct.PLL.PLLDIV = RCC_PLLDIV_2;
  if (HAL_RCC_OscConfig(&RCC_OscInitStruct) != HAL_OK)
  {
    Error_Handler();
  }

  /** Initializes the CPU, AHB and APB buses clocks
  */
  RCC_ClkInitStruct.ClockType = RCC_CLOCKTYPE_HCLK|RCC_CLOCKTYPE_SYSCLK
                              |RCC_CLOCKTYPE_PCLK1|RCC_CLOCKTYPE_PCLK2;
  RCC_ClkInitStruct.SYSCLKSource = RCC_SYSCLKSOURCE_PLLCLK;
  RCC_ClkInitStruct.AHBCLKDivider = RCC_SYSCLK_DIV1;
  RCC_ClkInitStruct.APB1CLKDivider = RCC_HCLK_DIV1;
  RCC_ClkInitStruct.APB2CLKDivider = RCC_HCLK_DIV1;

  if (HAL_RCC_ClockConfig(&RCC_ClkInitStruct, FLASH_LATENCY_1) != HAL_OK)
  {
    Error_Handler();
  }
  PeriphClkInit.PeriphClockSelection = RCC_PERIPHCLK_I2C1;
  PeriphClkInit.I2c1ClockSelection = RCC_I2C1CLKSOURCE_PCLK1;
  if (HAL_RCCEx_PeriphCLKConfig(&PeriphClkInit) != HAL_OK)
  {
    Error_Handler();
  }
}

/**
  * @brief NVIC Configuration.
  * @retval None
  */
static void MX_NVIC_Init(void)
{
  /* TIM2_IRQn interrupt configuration */
  HAL_NVIC_SetPriority(TIM2_IRQn, 0, 0);
  HAL_NVIC_EnableIRQ(TIM2_IRQn);
}

static void MX_ADC_Init(void)
{

  ADC_ChannelConfTypeDef sConfig = {0};

  /** Configure the global features of the ADC (Clock, Resolution, Data Alignment and number of conversion)
  */
  hadc.Instance = ADC1;
  hadc.Init.OversamplingMode = DISABLE;
  hadc.Init.ClockPrescaler = ADC_CLOCK_ASYNC_DIV1;
  hadc.Init.Resolution = ADC_RESOLUTION_12B;
  hadc.Init.SamplingTime = ADC_SAMPLETIME_79CYCLES_5;
  hadc.Init.ScanConvMode = ADC_SCAN_DIRECTION_FORWARD;
  hadc.Init.DataAlign = ADC_DATAALIGN_RIGHT;
  hadc.Init.ContinuousConvMode = DISABLE;
  hadc.Init.DiscontinuousConvMode = DISABLE;
  hadc.Init.ExternalTrigConvEdge = ADC_EXTERNALTRIGCONVEDGE_NONE;
  hadc.Init.ExternalTrigConv = ADC_SOFTWARE_START;
  hadc.Init.DMAContinuousRequests = DISABLE;
  hadc.Init.EOCSelection = ADC_EOC_SINGLE_CONV;
  hadc.Init.Overrun = ADC_OVR_DATA_PRESERVED;
  hadc.Init.LowPowerAutoWait = DISABLE;
  hadc.Init.LowPowerFrequencyMode = DISABLE;
  hadc.Init.LowPowerAutoPowerOff = DISABLE;
  if (HAL_ADC_Init(&hadc) != HAL_OK)
  {
    Error_Handler();
  }

  /** Configure for the selected ADC regular channel to be converted.
  */
  sConfig.Channel = ADC_CHANNEL_0;
  sConfig.Rank = ADC_RANK_CHANNEL_NUMBER;
  if (HAL_ADC_ConfigChannel(&hadc, &sConfig) != HAL_OK)
  {
    Error_Handler();
  }

  /** Configure for the selected ADC regular channel to be converted.
  */
  sConfig.Channel = ADC_CHANNEL_1;
  if (HAL_ADC_ConfigChannel(&hadc, &sConfig) != HAL_OK)
  {
    Error_Handler();
  }

}

static void MX_I2C1_Init(void)
{

  hi2c1.Instance = I2C1;
  hi2c1.Init.Timing = 0x00200C28;
  hi2c1.Init.OwnAddress1 = 0;
  hi2c1.Init.AddressingMode = I2C_ADDRESSINGMODE_7BIT;
  hi2c1.Init.DualAddressMode = I2C_DUALADDRESS_DISABLE;
  hi2c1.Init.OwnAddress2 = 0;
  hi2c1.Init.OwnAddress2Masks = I2C_OA2_NOMASK;
  hi2c1.Init.GeneralCallMode = I2C_GENERALCALL_DISABLE;
  hi2c1.Init.NoStretchMode = I2C_NOSTRETCH_DISABLE;
  if (HAL_I2C_Init(&hi2c1) != HAL_OK)
  {
    Error_Handler();
  }

  /** Configure Analogue filter
  */
  if (HAL_I2CEx_ConfigAnalogFilter(&hi2c1, I2C_ANALOGFILTER_ENABLE) != HAL_OK)
  {
    Error_Handler();
  }

  /** Configure Digital filter
  */
  if (HAL_I2CEx_ConfigDigitalFilter(&hi2c1, 0) != HAL_OK)
  {
    Error_Handler();
  }

}

static void MX_SPI1_Init(void)
{

  /* SPI1 parameter configuration*/
  hspi1.Instance = SPI1;
  hspi1.Init.Mode = SPI_MODE_MASTER;
  hspi1.Init.Direction = SPI_DIRECTION_2LINES;
  hspi1.Init.DataSize = SPI_DATASIZE_8BIT;
  hspi1.Init.CLKPolarity = SPI_POLARITY_LOW;
  hspi1.Init.CLKPhase = SPI_PHASE_1EDGE;
  hspi1.Init.NSS = SPI_NSS_SOFT;
  hspi1.Init.BaudRatePrescaler = SPI_BAUDRATEPRESCALER_8;
  hspi1.Init.FirstBit = SPI_FIRSTBIT_MSB;
  hspi1.Init.TIMode = SPI_TIMODE_DISABLE;
  hspi1.Init.CRCCalculation = SPI_CRCCALCULATION_DISABLE;
  hspi1.Init.CRCPolynomial = 7;
  if (HAL_SPI_Init(&hspi1) != HAL_OK)
  {
    Error_Handler();
  }

}

static void MX_TIM2_Init(void)
{

  TIM_ClockConfigTypeDef sClockSourceConfig = {0};
  TIM_MasterConfigTypeDef sMasterConfig = {0};

  htim2.Instance = TIM2;
  htim2.Init.Prescaler = 32-1;
  htim2.Init.CounterMode = TIM_COUNTERMODE_UP;
  htim2.Init.Period = 1000-1;
  htim2.Init.ClockDivision = TIM_CLOCKDIVISION_DIV1;
  htim2.Init.AutoReloadPreload = TIM_AUTORELOAD_PRELOAD_DISABLE;
  if (HAL_TIM_Base_Init(&htim2) != HAL_OK)
  {
    Error_Handler();
  }
  sClockSourceConfig.ClockSource = TIM_CLOCKSOURCE_INTERNAL;
  if (HAL_TIM_ConfigClockSource(&htim2, &sClockSourceConfig) != HAL_OK)
  {
    Error_Handler();
  }
  sMasterConfig.MasterOutputTrigger = TIM_TRGO_RESET;
  sMasterConfig.MasterSlaveMode = TIM_MASTERSLAVEMODE_DISABLE;
  if (HAL_TIMEx_MasterConfigSynchronization(&htim2, &sMasterConfig) != HAL_OK)
  {
    Error_Handler();
  }

}

static void MX_DMA_Init(void)
{

  /* DMA controller clock enable */
  __HAL_RCC_DMA1_CLK_ENABLE();

  /* DMA interrupt init */
  /* DMA1_Channel2_3_IRQn interrupt configuration */
  HAL_NVIC_SetPriority(DMA1_Channel2_3_IRQn, 0, 0);
  HAL_NVIC_EnableIRQ(DMA1_Channel2_3_IRQn);

}

static void MX_GPIO_Init(void)
{
  GPIO_InitTypeDef GPIO_InitStruct = {0};

  /* GPIO Ports Clock Enable */
  __HAL_RCC_GPIOA_CLK_ENABLE();
  __HAL_RCC_GPIOB_CLK_ENABLE();

  /*Configure GPIO pin Output Level */
  HAL_GPIO_WritePin(BUZ_GPIO_Port, BUZ_Pin, GPIO_PIN_RESET);

  /*Configure GPIO pin Output Level */
  HAL_GPIO_WritePin(RGB_DATA_GPIO_Port, RGB_DATA_Pin, GPIO_PIN_RESET);

  /*Configure GPIO pin : JOY_SW_Pin */
  GPIO_InitStruct.Pin = JOY_SW_Pin;
  GPIO_InitStruct.Mode = GPIO_MODE_INPUT;
  GPIO_InitStruct.Pull = GPIO_PULLUP;
  HAL_GPIO_Init(JOY_SW_GPIO_Port, &GPIO_InitStruct);

  /*Configure GPIO pin : BUZ_Pin */
  GPIO_InitStruct.Pin = BUZ_Pin;
  GPIO_InitStruct.Mode = GPIO_MODE_OUTPUT_PP;
  GPIO_InitStruct.Pull = GPIO_NOPULL;
  GPIO_InitStruct.Speed = GPIO_SPEED_FREQ_LOW;
  HAL_GPIO_Init(BUZ_GPIO_Port, &GPIO_InitStruct);

  /*Configure GPIO pin : RGB_DATA_Pin */
  GPIO_InitStruct.Pin = RGB_DATA_Pin;
  GPIO_InitStruct.Mode = GPIO_MODE_OUTPUT_PP;
  GPIO_InitStruct.Pull = GPIO_NOPULL;
  GPIO_InitStruct.Speed = GPIO_SPEED_FREQ_LOW;
  HAL_GPIO_Init(RGB_DATA_GPIO_Port, &GPIO_InitStruct);

}

void Error_Handler(void)
{
	__disable_irq();
	while (1) {
	}
}
